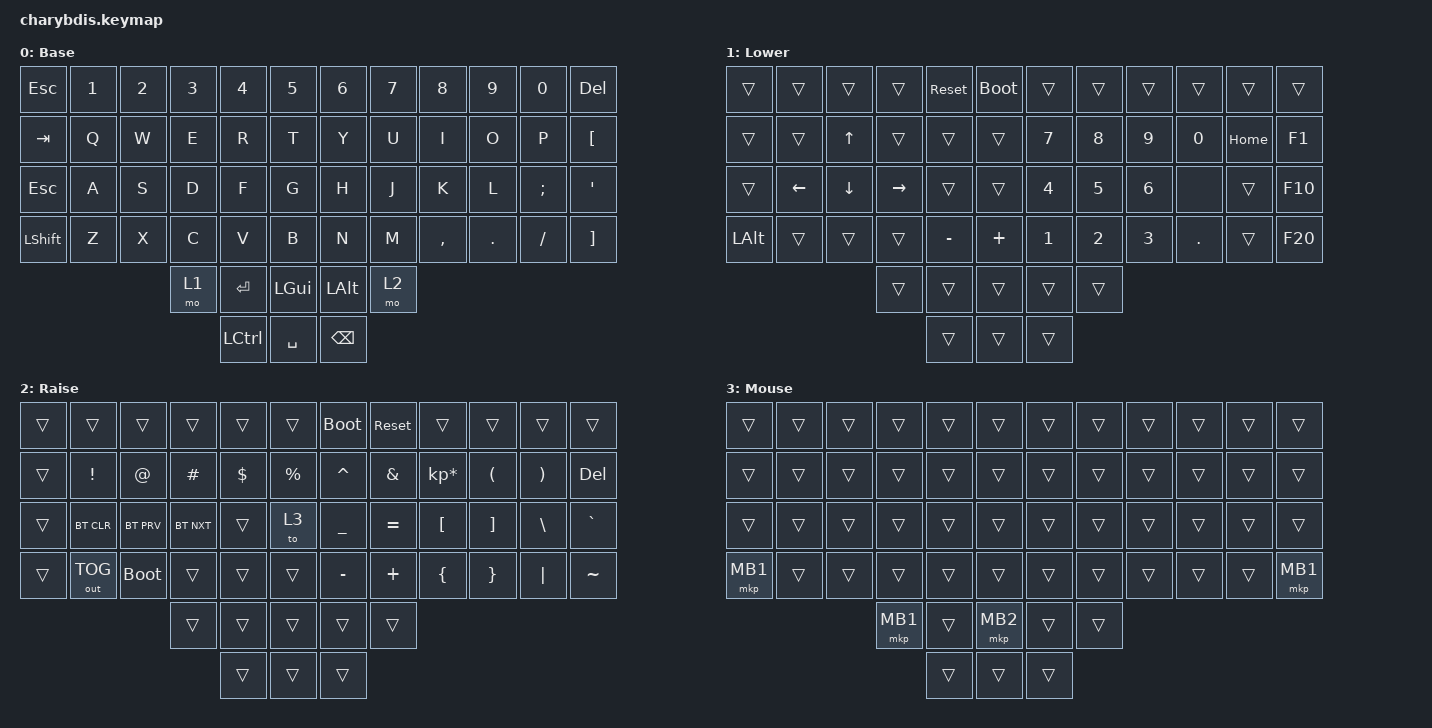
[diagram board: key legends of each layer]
#include <behaviors.dtsi>
#include <dt-bindings/zmk/keys.h>
#include <dt-bindings/zmk/pointing.h>
#include <dt-bindings/zmk/bt.h>

/ {
    combos {
        compatible = "zmk,combos";

        ParaLeft {
            bindings = <&kp LEFT_PARENTHESIS>;
            key-positions = <4 16>;
        };

        ParaRight {
            bindings = <&kp RIGHT_PARENTHESIS>;
            key-positions = <7 19>;
        };

        bootloaderLeft {
            bindings = <&bootloader>;
            key-positions = <0 13>;
        };
        bootloaderRight {
            bindings = <&bootloader>;
            key-positions = <11 22>;
        };
        resetLeft {
            bindings = <&sys_reset>;
            key-positions = <0 12>;
        };
        resetRight {
            bindings = <&sys_reset>;
            key-positions = <11 23>;
        };
    };
    trackball_listener {
        compatible = "zmk,input-behavior-listener";
        device = <&vtrackball>;
        layers = <0 2 3 4 5>;
        evt-type = <INPUT_EV_REL>;
        x-input-code = <INPUT_REL_X>;
        y-input-code = <INPUT_REL_Y>;
        scale-multiplier = <1>;
        scale-divisor = <1>;
        bindings = <&ib_toggle_layer 5>;
    };

    trackball_snipe_listener {
        compatible = "zmk,input-behavior-listener";   
        device = <&vtrackball>;
        layers = <>;
        evt-type = <INPUT_EV_REL>;
        x-input-code = <INPUT_REL_X>;
        y-input-code = <INPUT_REL_Y>;
        scale-multiplier = <1>;
        scale-divisor = <4>;
    };

    trackball_scroll_listener {
        compatible = "zmk,input-behavior-listener";
        device = <&vtrackball>;
        layers = <1>;
        evt-type = <INPUT_EV_REL>;            
        x-input-code = <INPUT_REL_MISC>;
        y-input-code = <INPUT_REL_WHEEL>;
        y-invert;
        bindings = <&ib_wheel_scaler 1 16>;
    };

    ib_wheel_scaler: ib_wheel_scaler {
        compatible = "zmk,input-behavior-scaler";
        #binding-cells = <2>;
        evt-type = <INPUT_EV_REL>;
        input-code = <INPUT_REL_WHEEL>;
    };

    ib_toggle_layer: ib_toggle_layer {
        compatible = "zmk,input-behavior-tog-layer";
        #binding-cells = <1>;
        time-to-live-ms = <750>;
    };
    behaviors {
        lt: layer_tap {
            compatible = "zmk,behavior-hold-tap";
            #binding-cells = <2>;
            flavor = "balanced";
            tapping-term-ms = <240>;
            quick-tap-ms = <150>;
            bindings = 
                <&mo>,
                <&kp>;
        };
    };

    keymap {
        compatible = "zmk,keymap";

        Base {
            display-name = "Base";
            display-name = "Base";
            bindings = <
            // ╭─────────────┬─────────────┬─────────────┬─────────────┬─────────────┬─────────────╮   ╭─────────────┬─────────────┬─────────────┬─────────────┬─────────────┬─────────────╮
                   &kp ESC       &kp N1         &kp N2        &kp N3        &kp N4        &kp N5            &kp N6        &kp N7        &kp N8        &kp N9        &kp N0       &kp DEL
            // ├─────────────┼─────────────┼─────────────┼─────────────┼─────────────┼─────────────┤   ├─────────────┼─────────────┼─────────────┼─────────────┼─────────────┼─────────────┤
                   &kp TAB       &kp Q          &kp W         &kp E         &kp R         &kp T             &kp Y         &kp U         &kp I         &kp O         &kp P      &kp LEFT_BRACKET
            // ├─────────────┼─────────────┼─────────────┼─────────────┼─────────────┼─────────────┤   ├─────────────┼─────────────┼─────────────┼─────────────┼─────────────┼─────────────┤
                   &kp ESC       &kp A          &kp S         &kp D         &kp F         &kp G             &kp H         &kp J         &kp K         &kp L       &kp SEMI      &kp APOS
            // ├─────────────┼─────────────┼─────────────┼─────────────┼─────────────┼─────────────┤   ├─────────────┼─────────────┼─────────────┼─────────────┼─────────────┼─────────────┤
                  &kp LSHFT      &kp Z          &kp X         &kp C         &kp V         &kp B             &kp N         &kp M      &kp COMMA      &kp DOT       &kp FSLH     &kp RIGHT_BRACKET
            // ╰─────────────┴─────────────┼─────────────┼─────────────┼─────────────┼─────────────┤   ├─────────────┼─────────────┼─────────────┼─────────────┼─────────────┴─────────────╯
                                                              &mo 1        &kp RET     &kp LEFT_GUI      &kp LEFT_ALT     &mo 2 
            //                                           ╰─────────────┤─────────────┤─────────────┤   ├─────────────┼─────────────╯
                                                                           &kp LCTRL    &kp SPACE         &kp BSPC
            //                                                         ╰─────────────┴─────────────╯   ╰─────────────╯
            >;
        };

        Lower {
            display-name = "Lower";
            display-name = "Lower";
            bindings = <
            // ╭─────────────┬─────────────┬─────────────┬─────────────┬─────────────┬─────────────╮   ╭─────────────┬─────────────┬─────────────┬─────────────┬─────────────┬─────────────╮
                   &trans         &trans       &trans         &trans      &sys_reset   &bootloader         &trans       &trans         &trans        &trans        &trans        &trans
            // ├─────────────┼─────────────┼─────────────┼─────────────┼─────────────┼─────────────┤   ├─────────────┼─────────────┼─────────────┼─────────────┼─────────────┼─────────────┤
                   &trans         &trans       &kp UP         &trans       &trans         &trans           &kp N7       &kp N8         &kp N9        &kp N0        &kp HOME      &kp F1
            // ├─────────────┼─────────────┼─────────────┼─────────────┼─────────────┼─────────────┤   ├─────────────┼─────────────┼─────────────┼─────────────┼─────────────┼─────────────┤
                   &trans       &kp LEFT       &kp DOWN     &kp RIGHT      &trans         &trans           &kp N4       &kp N5         &kp N6        &none         &trans        &kp F10
            // ├─────────────┼─────────────┼─────────────┼─────────────┼─────────────┼─────────────┤   ├─────────────┼─────────────┼─────────────┼─────────────┼─────────────┼─────────────┤
                 &kp LEFT_ALT    &trans        &trans         &trans      &kp MINUS      &kp PLUS          &kp N1       &kp N2         &kp N3        &kp DOT       &trans        &kp F20
            // ╰─────────────┴─────────────┼─────────────┼─────────────┼─────────────┼─────────────┤   ├─────────────┼─────────────┼─────────────┼─────────────┼─────────────┴─────────────╯
                                                              &trans       &trans        &trans            &trans        &trans    
            //                                           ╰─────────────┤─────────────┤─────────────┤   ├─────────────┼─────────────╯
                                                                           &trans        &trans            &trans
            //                                                         ╰─────────────┴─────────────╯   ╰─────────────╯
            >;
        };

        Raise {
            display-name = "Raise";
            display-name = "Raise";
            bindings = <
            // ╭─────────────┬─────────────┬─────────────┬─────────────┬─────────────┬─────────────╮   ╭─────────────┬─────────────┬─────────────┬─────────────┬─────────────┬─────────────╮
                   &trans        &trans         &trans       &trans         &trans       &trans          &bootloader    &sys_reset     &trans        &trans        &trans        &trans
            // ├─────────────┼─────────────┼─────────────┼─────────────┼─────────────┼─────────────┤   ├─────────────┼─────────────┼─────────────┼─────────────┼─────────────┼─────────────┤
                   &trans        &kp EXCL       &kp AT      &kp HASH       &kp DLLR     &kp PRCNT         &kp CARET      &kp AMPS    &kp KP_MULTIPLY &kp LPAR      &kp RPAR      &kp DEL
            // ├─────────────┼─────────────┼─────────────┼─────────────┼─────────────┼─────────────┤   ├─────────────┼─────────────┼─────────────┼─────────────┼─────────────┼─────────────┤
                  &trans      &bt BT_CLR    &bt BT_PRV    &bt BT_NXT       &trans        &to 3           &kp UNDER     &kp EQUAL     &kp LBKT      &kp RBKT      &kp BSLH      &kp GRAVE
            // ├─────────────┼─────────────┼─────────────┼─────────────┼─────────────┼─────────────┤   ├─────────────┼─────────────┼─────────────┼─────────────┼─────────────┼─────────────┤
                   &trans     &out OUT_TOG   &bootloader     &trans         &trans       &trans           &kp MINUS      &kp PLUS     &kp LBRC      &kp RBRC      &kp PIPE      &kp TILDE
            // ╰─────────────┴─────────────┼─────────────┼─────────────┼─────────────┼─────────────┤   ├─────────────┼─────────────┼─────────────┼─────────────┼─────────────┴─────────────╯
                                                              &trans        &trans       &trans            &trans        &trans    
            //                                           ╰─────────────┤─────────────┤─────────────┤   ├─────────────┼─────────────╯
                                                                            &trans       &trans            &trans
            //                                                         ╰─────────────┴─────────────╯   ╰─────────────╯
            >;
        };

        Mouse {
            display-name = "Mouse";
            bindings = <
            // ╭─────────────┬─────────────┬─────────────┬─────────────┬─────────────┬─────────────╮   ╭─────────────┬─────────────┬─────────────┬─────────────┬─────────────┬─────────────╮
                   &trans         &trans       &trans         &trans       &trans         &trans           &trans       &trans         &trans        &trans        &trans        &trans
            // ├─────────────┼─────────────┼─────────────┼─────────────┼─────────────┼─────────────┤   ├─────────────┼─────────────┼─────────────┼─────────────┼─────────────┼─────────────┤
                   &trans         &trans       &trans         &trans       &trans         &trans           &trans       &trans         &trans        &trans        &trans        &trans
            // ├─────────────┼─────────────┼─────────────┼─────────────┼─────────────┼─────────────┤   ├─────────────┼─────────────┼─────────────┼─────────────┼─────────────┼─────────────┤
                   &trans         &trans       &trans         &trans       &trans         &trans           &trans       &trans         &trans        &trans        &trans        &trans
            // ├─────────────┼─────────────┼─────────────┼─────────────┼─────────────┼─────────────┤   ├─────────────┼─────────────┼─────────────┼─────────────┼─────────────┼─────────────┤
                  &mkp MB1       &trans       &trans         &trans       &trans         &trans           &trans       &trans         &trans        &trans        &trans       &mkp MB1
            // ╰─────────────┴─────────────┼─────────────┼─────────────┼─────────────┼─────────────┤   ├─────────────┼─────────────┼─────────────┼─────────────┼─────────────┴─────────────╯
                                                            &mkp MB1      &trans       &mkp MB2           &trans        &trans    
            //                                           ╰─────────────┤─────────────┤─────────────┤   ├─────────────┼─────────────╯
                                                                            &trans        &trans            &trans
            //                                                         ╰─────────────┴─────────────╯   ╰─────────────╯
            >;
        };
    };
};
